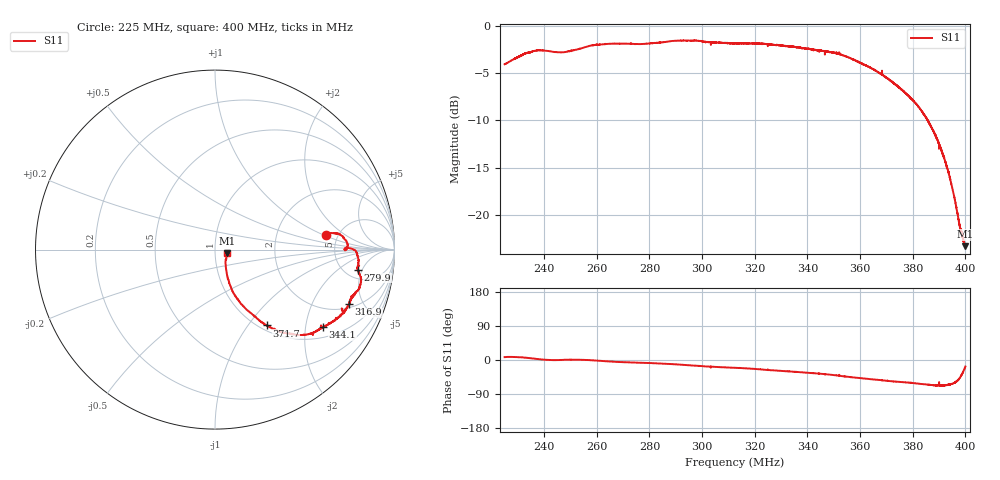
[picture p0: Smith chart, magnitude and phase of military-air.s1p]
! Calibrated averaged scanner-service zoom
# Hz S RI R 50
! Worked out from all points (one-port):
!   10001 points, 225 MHz to 400 MHz, reference 50 ohm
!   lowest |S11| = -23.3 dB at 399.9 MHz (marker M1), VSWR 1.15, Z = 56.9 - j2.48 ohm
!   |S11| at or under -10 dB: 385.6254 MHz to 385.6782 MHz (52.86 kHz wide, 0.0137 % of centre); 385.6871 MHz to 385.7199 MHz (32.78 kHz wide, 0.0085 % of centre); 385.7 MHz to end of sweep
!   S11 on the Smith chart (normalised r, x): 225 MHz: 4.01, +1.09; 279.9 MHz: 6.53, -4.13; 316.9 MHz: 2.24, -3.86; 344.1 MHz: 1.30, -2.50; 371.7 MHz: 1.08, -1.23; 400 MHz: 1.14, -0.05
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2.25e8  0.6189 0.0827
2.31125e8  0.6866 0.088
2.3676e8  0.7348 0.0393
2.422725e8  0.7309 0.000222
2.46875e8  0.722 0.00325
2.560275e8  0.7716 0.000525
2.599825e8  0.7955 -0.0252
2.6875e8  0.7986 -0.0771
2.7995e8  0.7958 -0.1118
2.90625e8  0.8138 -0.1692
3.008975e8  0.7848 -0.2362
3.125e8  0.7534 -0.2831
3.16945e8  0.745 -0.3039
3.34375e8  0.6642 -0.3955
3.440875e8  0.601 -0.4328
3.500725e8  0.5525 -0.4601
3.5625e8  0.4767 -0.4755
3.649825e8  0.3679 -0.4589
3.716675e8  0.2876 -0.4228
3.78125e8  0.2178 -0.3689
3.8474e8  0.1431 -0.2999
3.8789e8  0.1098 -0.2543
3.901475e8  0.0921 -0.2159
3.9398e8  0.068 -0.144
3.9566e8  0.0626 -0.1106
3.980925e8  0.0593 -0.0586
3.999125e8  0.0649 -0.0217
4e8  0.0656 -0.0203
